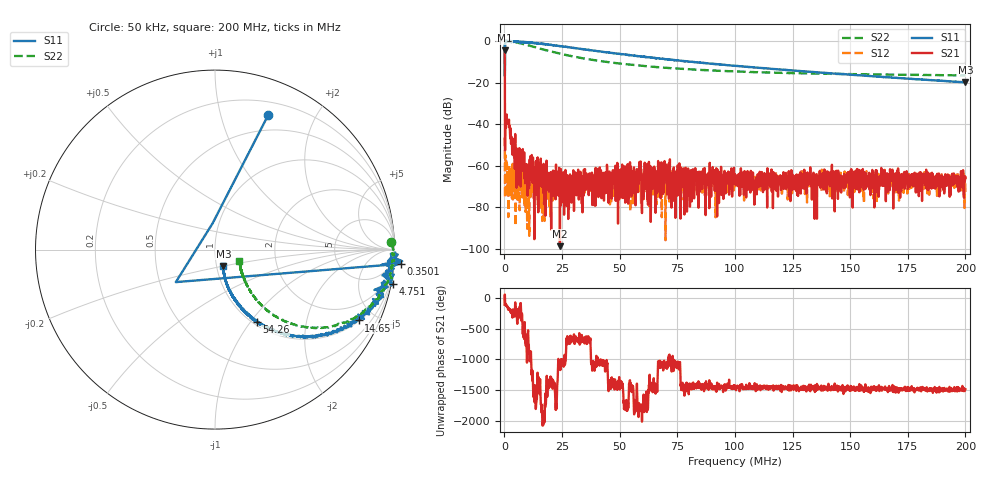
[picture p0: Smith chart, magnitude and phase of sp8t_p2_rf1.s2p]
! 26-Feb-26 11:30:25 AM
! E:\VNA_MEASUREMENTS\SP8T\SP8T_P2_RF1.S2P
! CHANNEL.1
! TR.MEASUREMENT
! CORRECTED.DATA
# GHZ S RI R 50.0
! FREQ.GHZ  S11RE  S11IM  S21RE  S21IM  S12RE  S12IM  S22RE  S22IM
!; PortSelection: Port_12
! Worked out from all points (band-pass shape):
!   2000 points, 50 kHz to 200 MHz, reference 50 ohm
!   highest |S21| = -4.36 dB at 50 kHz (marker M1); lowest = -98.7 dB at 24.06 MHz (marker M2)
!   |S21| within 3 dB of the highest: start of sweep to 86.81 kHz
!   lowest |S11| = -19.8 dB at 200 MHz (marker M3), VSWR 1.23, Z = 54 - j9.9 ohm
!   |S11| at or under -10 dB: 104.9 kHz to 258.4 kHz (153.6 kHz wide, 84.5 % of centre); 81.83713 MHz to 81.99975 MHz (162.6 kHz wide, 0.199 % of centre); 82.41 MHz to end of sweep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
!   |S22| runs from -16.5 to 0.1 dB; largest |S21 - S12| = 0.6
!   S11 on the Smith chart (normalised r, x): 50 kHz: 0.33, +1.42; 350.1 kHz: -11, -21; 4.751 MHz: -0, -10; 14.65 MHz: 1.03, -4.05; 54.26 MHz: 1.04, -1.07; 200 MHz: 1.08, -0.20
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5e-05  0.2963 0.7495  -0.2264 -0.5616  0.00245 -0.00413  0.9806 0.0397
0.000350075  1.037 -0.0791  -0.00341 -0.0135  0.00106 0.00149  0.9904 -0.0318
0.0012503  0.9934 -0.0407  -0.0076 -0.00723  -0.000219 -0.000614  0.9948 -0.0774
0.004751176  0.9896 -0.1925  -0.000821 -0.000413  0.000778 0.000391  0.9059 -0.2753
0.009152276  0.9158 -0.2685  0.000411 0.000215  7.34e-05 2.63e-05  0.7249 -0.4068
0.01465365  0.8017 -0.3948  7.12e-05 2.79e-05  0.000206 0.000102  0.5282 -0.4345
0.024056  0.6033 -0.4774  8.4e-06 8.1e-06  0.000208 0.000162  0.3383 -0.3728
0.0268567  0.5462 -0.4903  0.000317 0.000435  0.000129 0.000281  0.3071 -0.351
0.03345835  0.4404 -0.4812  0.000184 3.37e-05  0.000293 0.00012  0.2518 -0.3027
0.03545885  0.4116 -0.4757  8.08e-05 0.000597  0.000396 0.000112  0.2394 -0.2909
0.05426356  0.2318 -0.4048  0.000824 -0.000298  0.000563 1.9e-06  0.1813 -0.2051
0.06676668  0.1718 -0.3484  0.000419 -0.000227  0.000444 0.000162  0.1654 -0.1703
0.07346836  0.1445 -0.3219  0.000918 6.8e-05  0.000521 -6.93e-05  0.1594 -0.1552
0.07616903  0.1366 -0.3135  0.000386 0.000292  0.000607 -8.33e-05  0.1568 -0.1506
0.07966991  0.1275 -0.3008  0.000858 -9.88e-05  0.000476 6.2e-06  0.1549 -0.1449
0.100075  0.0877 -0.2413  0.000395 -0.000126  0.000504 -6.02e-05  0.1464 -0.118
0.1089772  0.0775 -0.2209  8e-05 -0.000275  0.00054 -5.48e-05  0.1446 -0.109
0.1150788  0.0713 -0.2069  0.000512 -1.37e-05  0.000408 -0.000189  0.1431 -0.1035
0.1333833  0.0593 -0.1725  0.000123 -9.35e-05  0.00047 -0.00021  0.1405 -0.0913
0.1666917  0.0488 -0.1259  0.000406 -0.00024  0.000387 -0.000309  0.1378 -0.076
0.1962991  0.0471 -0.0944  0.000295 -0.000395  0.000241 -0.000571  0.137 -0.0658
0.2  0.0469 -0.0908  0.000359 -0.000359  8.61e-05 -0.000191  0.1362 -0.0645
